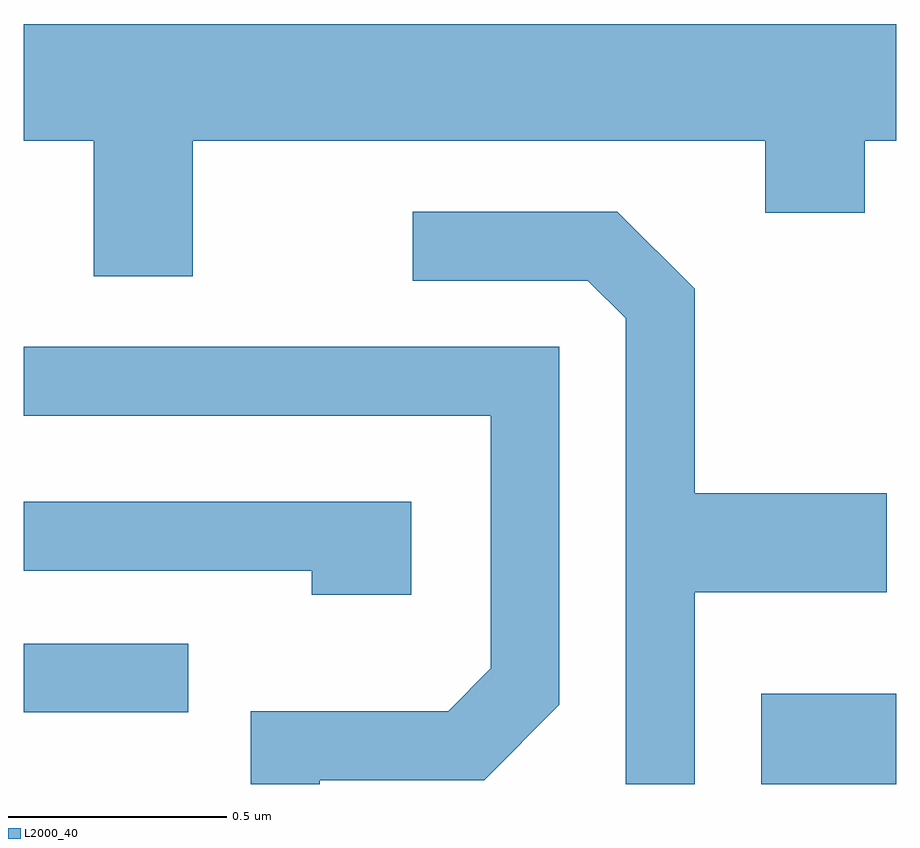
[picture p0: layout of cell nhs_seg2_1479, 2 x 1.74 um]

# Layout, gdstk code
import gdstk
lib = gdstk.Library(unit=1e-6, precision=1e-09)
def R(c, l, rs):  # rectangles x0, y0, x1, y1
    for r in rs: c.add(gdstk.rectangle(r[:2], r[2:], *l))
def P(c, l, *ps):  # polygons
    for p in ps: c.add(gdstk.Polygon(p, *l))
L2000_40 = (2000, 40)

nhs_seg2_1479 = lib.new_cell('nhs_seg2_1479')
R(nhs_seg2_1479, L2000_40, [(197.301,1086.802,197.611,1087.009), (195.611,1086.966,195.988,1087.124)])
P(nhs_seg2_1479, L2000_40, [(195.999,1088.276),(197.311,1088.276),(197.311,1088.111),(197.539,1088.111),(197.539,1088.276),(197.611,1088.276),(197.611,1088.544),(195.611,1088.544),(195.611,1088.276),(195.771,1088.276),(195.771,1087.966),(195.999,1087.966)],
  [(197.149,1087.241),(197.589,1087.241),(197.589,1087.469),(197.149,1087.469),(197.149,1087.937),(196.972,1088.114),(196.503,1088.114),(196.503,1087.956),(196.904,1087.956),(196.991,1087.869),(196.991,1086.802),(197.149,1086.802)],
  [(196.289,1086.811),(196.667,1086.811),(196.839,1086.984),(196.839,1087.804),(195.611,1087.804),(195.611,1087.646),(196.681,1087.646),(196.681,1087.067),(196.584,1086.969),(196.131,1086.969),(196.131,1086.802),(196.289,1086.802)],
  [(196.499,1087.449),(195.611,1087.449),(195.611,1087.291),(196.271,1087.291),(196.271,1087.236),(196.499,1087.236)])

lib.write_gds('nhs_seg2_1479.gds')
